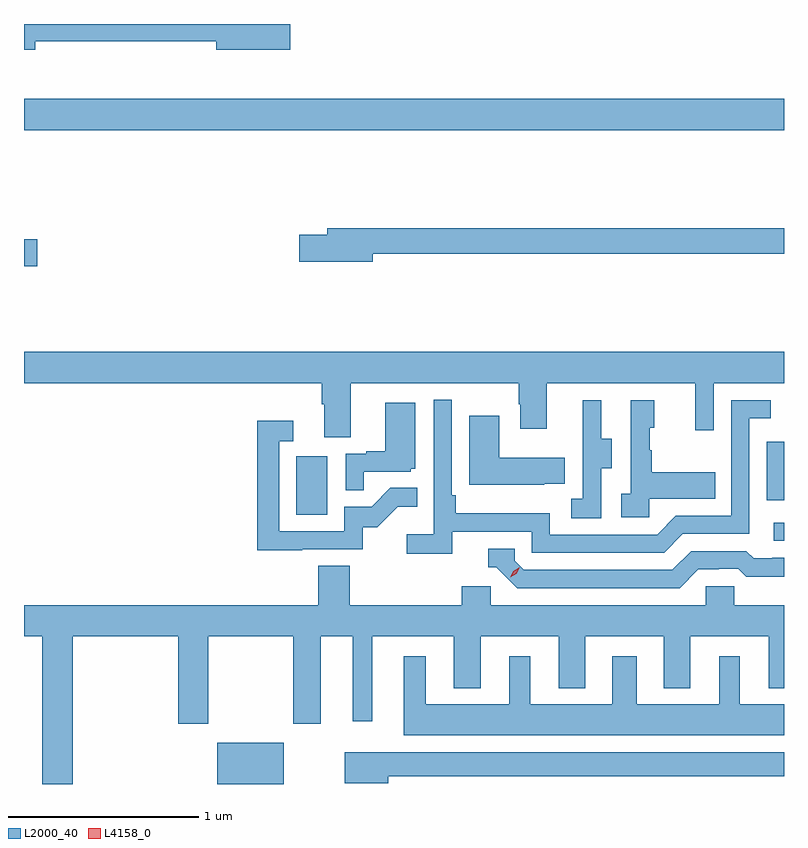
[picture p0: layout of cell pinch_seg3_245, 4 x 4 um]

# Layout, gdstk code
import gdstk
lib = gdstk.Library(unit=1e-6, precision=1e-09)
def R(c, l, rs):  # rectangles x0, y0, x1, y1
    for r in rs: c.add(gdstk.rectangle(r[:2], r[2:], *l))
def P(c, l, *ps):  # polygons
    for p in ps: c.add(gdstk.Polygon(p, *l))
L2000_40 = (2000, 40)
L4158_0 = (4158, 0)

pinch_seg3_245 = lib.new_cell('pinch_seg3_245')
R(pinch_seg3_245, L2000_40, [(898.616,742.762,898.966,742.978), (901.545,744.042,901.598,744.138), (899.03,744.18,899.194,744.487), (901.506,744.255,901.598,744.564), (897.598,745.486,897.667,745.628), (897.598,746.204,901.598,746.368)])
P(pinch_seg3_245, L2000_40, [(897.658,746.67),(898.61,746.67),(898.61,746.627),(898.999,746.627),(898.999,746.762),(897.598,746.762),(897.598,746.627),(897.658,746.627)],
  [(899.434,745.552),(901.598,745.552),(901.598,745.688),(899.195,745.688),(899.195,745.652),(899.046,745.652),(899.046,745.51),(899.434,745.51)],
  [(899.317,744.872),(900.202,744.872),(900.202,744.761),(900.209,744.761),(900.209,744.633),(900.349,744.633),(900.349,744.872),(901.13,744.872),(901.13,744.624),(901.227,744.624),(901.227,744.872),(901.598,744.872),(901.598,745.036),(897.598,745.036),(897.598,744.872),(899.165,744.872),(899.165,744.76),(899.177,744.76),(899.177,744.586),(899.317,744.586)],
  [(899.852,744.09),(900.27,744.09),(900.27,743.979),(900.967,743.979),(901.066,744.078),(901.416,744.078),(901.416,744.687),(901.529,744.687),(901.529,744.783),(901.32,744.783),(901.32,744.174),(901.029,744.174),(900.93,744.075),(900.366,744.075),(900.366,744.187),(899.87,744.187),(899.87,744.283),(899.85,744.283),(899.85,744.784),(899.754,744.784),(899.754,744.076),(899.613,744.076),(899.613,743.974),(899.852,743.974)],
  [(900.636,744.424),(900.691,744.424),(900.691,744.579),(900.637,744.579),(900.637,744.781),(900.539,744.781),(900.539,744.567),(900.54,744.567),(900.54,744.263),(900.477,744.263),(900.477,744.16),(900.636,744.16)],
  [(900.888,744.263),(901.235,744.263),(901.235,744.403),(900.901,744.403),(900.901,744.518),(900.891,744.518),(900.891,744.636),(900.916,744.636),(900.916,744.781),(900.792,744.781),(900.792,744.29),(900.741,744.29),(900.741,744.165),(900.888,744.165)],
  [(899.387,744.405),(899.634,744.405),(899.634,744.42),(899.656,744.42),(899.656,744.769),(899.498,744.769),(899.498,744.514),(899.399,744.514),(899.399,744.501),(899.292,744.501),(899.292,744.307),(899.387,744.307)],
  [(900.335,744.341),(900.443,744.341),(900.443,744.478),(900.1,744.478),(900.1,744.7),(899.942,744.7),(899.942,744.338),(900.335,744.338)],
  [(899.063,743.997),(899.382,743.997),(899.382,744.114),(899.458,744.114),(899.565,744.221),(899.669,744.221),(899.669,744.32),(899.525,744.32),(899.427,744.222),(899.283,744.222),(899.283,744.093),(898.941,744.093),(898.941,744.567),(899.014,744.567),(899.014,744.673),(898.825,744.673),(898.825,743.992),(899.063,743.992)],
  [(901.147,743.892),(901.254,743.892),(901.254,743.895),(901.357,743.895),(901.399,743.853),(901.598,743.853),(901.598,743.952),(901.537,743.952),(901.537,743.949),(901.438,743.949),(901.399,743.988),(901.11,743.988),(901.011,743.889),(900.228,743.889),(900.18,743.937),(900.18,744),(900.041,744),(900.041,743.904),(900.084,743.904),(900.195,743.793),(901.048,743.793)],
  [(899.327,743.091),(899.431,743.091),(899.431,743.54),(899.861,743.54),(899.861,743.267),(900.001,743.267),(900.001,743.54),(900.413,743.54),(900.413,743.267),(900.553,743.267),(900.553,743.54),(900.965,743.54),(900.965,743.267),(901.105,743.267),(901.105,743.54),(901.517,743.54),(901.517,743.267),(901.598,743.267),(901.598,743.704),(901.335,743.704),(901.335,743.802),(901.185,743.802),(901.185,743.704),(900.054,743.704),(900.054,743.802),(899.903,743.802),(899.903,743.704),(899.312,743.704),(899.312,743.912),(899.147,743.912),(899.147,743.704),(897.598,743.704),(897.598,743.54),(897.694,743.54),(897.694,742.762),(897.854,742.762),(897.854,743.54),(898.409,743.54),(898.409,743.079),(898.569,743.079),(898.569,743.54),(899.014,743.54),(899.014,743.079),(899.161,743.079),(899.161,743.54),(899.327,743.54)],
  [(901.598,743.182),(901.366,743.182),(901.366,743.434),(901.256,743.434),(901.256,743.182),(900.823,743.182),(900.823,743.434),(900.695,743.434),(900.695,743.182),(900.262,743.182),(900.262,743.434),(900.152,743.434),(900.152,743.182),(899.713,743.182),(899.713,743.434),(899.597,743.434),(899.597,743.018),(901.598,743.018)],
  [(899.515,742.802),(901.598,742.802),(901.598,742.93),(899.286,742.93),(899.286,742.766),(899.515,742.766)])
P(pinch_seg3_245, L4158_0, [(900.158,743.85),(900.158,743.85),(900.174,743.883),(900.206,743.902),(900.206,743.902),(900.206,743.902),(900.189,743.869),(900.158,743.85)])

lib.write_gds('pinch_seg3_245.gds')
